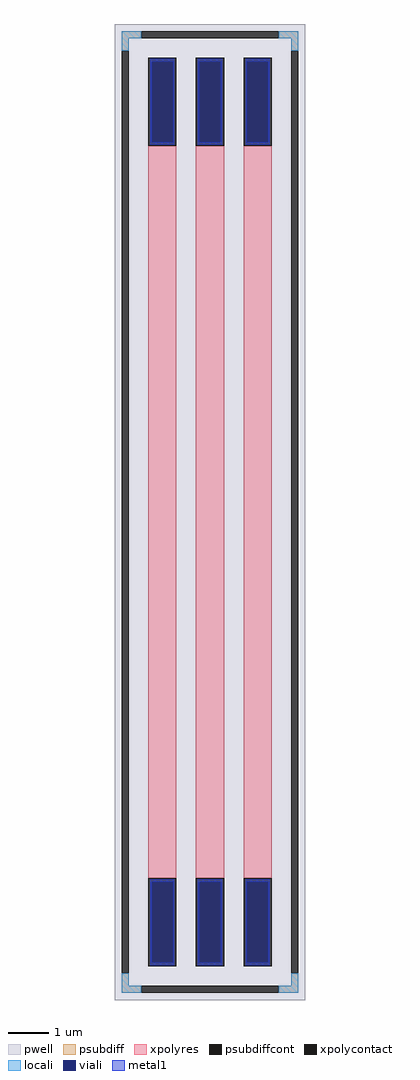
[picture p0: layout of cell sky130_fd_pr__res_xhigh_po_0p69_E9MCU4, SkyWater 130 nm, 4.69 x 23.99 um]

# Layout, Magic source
magic
tech sky130A
magscale 1 2
<< pwell >>
rect -469 -2399 469 2399
<< psubdiff >>
rect -433 2329 -337 2363
rect 337 2329 433 2363
rect -433 2267 -399 2329
rect 399 2267 433 2329
rect -433 -2329 -399 -2267
rect 399 -2329 433 -2267
rect -433 -2363 -337 -2329
rect 337 -2363 433 -2329
<< psubdiffcont >>
rect -337 2329 337 2363
rect -433 -2267 -399 2267
rect 399 -2267 433 2267
rect -337 -2363 337 -2329
<< xpolycontact >>
rect -303 1801 -165 2233
rect -303 -2233 -165 -1801
rect -69 1801 69 2233
rect -69 -2233 69 -1801
rect 165 1801 303 2233
rect 165 -2233 303 -1801
<< xpolyres >>
rect -303 -1801 -165 1801
rect -69 -1801 69 1801
rect 165 -1801 303 1801
<< locali >>
rect -433 2329 -337 2363
rect 337 2329 433 2363
rect -433 2267 -399 2329
rect 399 2267 433 2329
rect -433 -2329 -399 -2267
rect 399 -2329 433 -2267
rect -433 -2363 -337 -2329
rect 337 -2363 433 -2329
<< viali >>
rect -287 1818 -181 2215
rect -53 1818 53 2215
rect 181 1818 287 2215
rect -287 -2215 -181 -1818
rect -53 -2215 53 -1818
rect 181 -2215 287 -1818
<< metal1 >>
rect -293 2215 -175 2227
rect -293 1818 -287 2215
rect -181 1818 -175 2215
rect -293 1806 -175 1818
rect -59 2215 59 2227
rect -59 1818 -53 2215
rect 53 1818 59 2215
rect -59 1806 59 1818
rect 175 2215 293 2227
rect 175 1818 181 2215
rect 287 1818 293 2215
rect 175 1806 293 1818
rect -293 -1818 -175 -1806
rect -293 -2215 -287 -1818
rect -181 -2215 -175 -1818
rect -293 -2227 -175 -2215
rect -59 -1818 59 -1806
rect -59 -2215 -53 -1818
rect 53 -2215 59 -1818
rect -59 -2227 59 -2215
rect 175 -1818 293 -1806
rect 175 -2215 181 -1818
rect 287 -2215 293 -1818
rect 175 -2227 293 -2215
<< properties >>
string FIXED_BBOX -416 -2346 416 2346
string gencell sky130_fd_pr__res_xhigh_po_0p69
string library sky130
string parameters w 0.690 l 18.17 m 1 nx 3 wmin 0.690 lmin 0.50 rho 2000 val 53.212k dummy 0 dw 0.0 term 188.2 sterm 0.0 caplen 0 wmax 0.690 guard 1 glc 1 grc 1 gtc 1 gbc 1 compatible {sky130_fd_pr__res_xhigh_po_0p35  sky130_fd_pr__res_xhigh_po_0p69 sky130_fd_pr__res_xhigh_po_1p41  sky130_fd_pr__res_xhigh_po_2p85 sky130_fd_pr__res_xhigh_po_5p73} snake 0 full_metal 1 n_guard 0 hv_guard 0 vias 1 viagb 0 viagt 0 viagl 0 viagr 0
<< end >>
